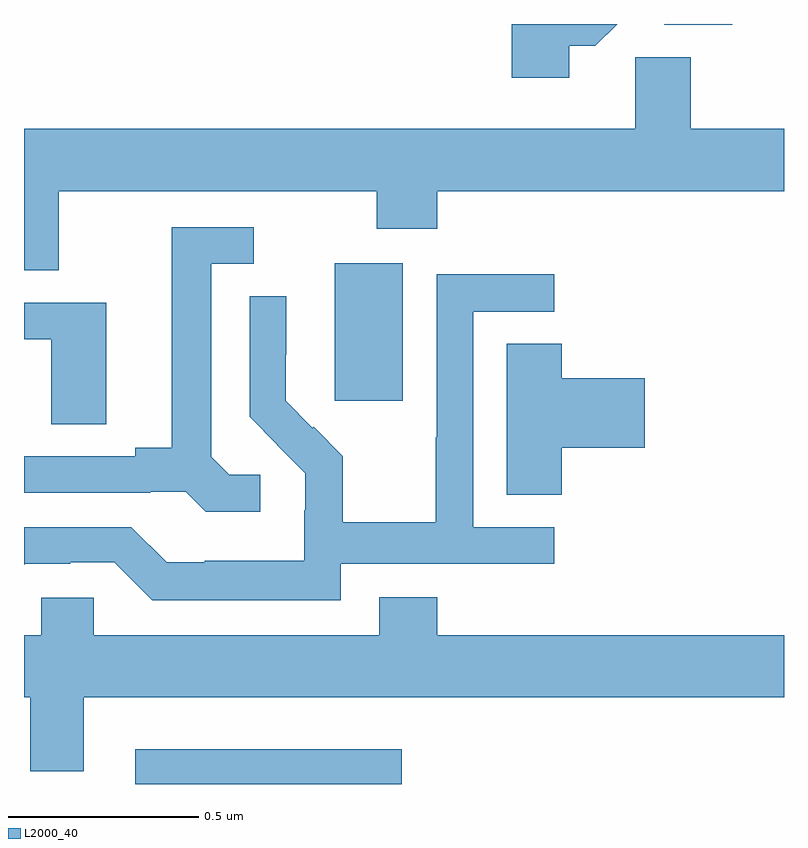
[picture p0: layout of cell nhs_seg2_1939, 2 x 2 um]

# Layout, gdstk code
import gdstk
lib = gdstk.Library(unit=1e-6, precision=1e-09)
def R(c, l, rs):  # rectangles x0, y0, x1, y1
    for r in rs: c.add(gdstk.rectangle(r[:2], r[2:], *l))
def P(c, l, *ps):  # polygons
    for p in ps: c.add(gdstk.Polygon(p, *l))
L2000_40 = (2000, 40)

nhs_seg2_1939 = lib.new_cell('nhs_seg2_1939')
R(nhs_seg2_1939, L2000_40, [(135.293,588.8,135.994,588.892), (135.818,589.809,135.997,590.17), (136.685,590.798,136.864,590.8)])
P(nhs_seg2_1939, L2000_40, [(136.435,590.743),(136.503,590.743),(136.561,590.8),(136.283,590.8),(136.283,590.658),(136.435,590.658)],
  [(135.091,590.36),(135.928,590.36),(135.928,590.261),(136.088,590.261),(136.088,590.36),(137,590.36),(137,590.524),(136.755,590.524),(136.755,590.713),(136.608,590.713),(136.608,590.524),(135,590.524),(135,590.152),(135.091,590.152)],
  [(135.622,589.614),(135.54,589.614),(135.493,589.661),(135.493,590.169),(135.604,590.169),(135.604,590.265),(135.389,590.265),(135.389,589.685),(135.293,589.685),(135.293,589.662),(135,589.662),(135,589.566),(135.332,589.566),(135.332,589.569),(135.426,589.569),(135.478,589.517),(135.622,589.517)],
  [(135.834,589.38),(136.396,589.38),(136.396,589.476),(136.182,589.476),(136.182,590.043),(136.396,590.043),(136.396,590.142),(136.086,590.142),(136.086,589.712),(136.084,589.712),(136.084,589.489),(135.839,589.489),(135.839,589.663),(135.762,589.74),(135.759,589.737),(135.689,589.808),(135.689,589.93),(135.69,589.93),(135.69,590.084),(135.594,590.084),(135.594,589.766),(135.667,589.693),(135.666,589.692),(135.74,589.618),(135.74,589.521),(135.738,589.521),(135.738,589.387),(135.475,589.387),(135.475,589.383),(135.375,589.383),(135.282,589.476),(135,589.476),(135,589.377),(135.003,589.38),(135.122,589.38),(135.122,589.383),(135.237,589.383),(135.337,589.283),(135.834,589.283)],
  [(135.217,590.067),(135,590.067),(135,589.971),(135.072,589.971),(135.072,589.747),(135.217,589.747)],
  [(136.415,589.685),(136.633,589.685),(136.633,589.868),(136.415,589.868),(136.415,589.958),(136.271,589.958),(136.271,589.561),(136.415,589.561)],
  [(135.157,589.028),(137,589.028),(137,589.192),(136.088,589.192),(136.088,589.291),(135.935,589.291),(135.935,589.192),(135.183,589.192),(135.183,589.29),(135.045,589.29),(135.045,589.192),(135,589.192),(135,589.028),(135.017,589.028),(135.017,588.834),(135.157,588.834)])

lib.write_gds('nhs_seg2_1939.gds')
